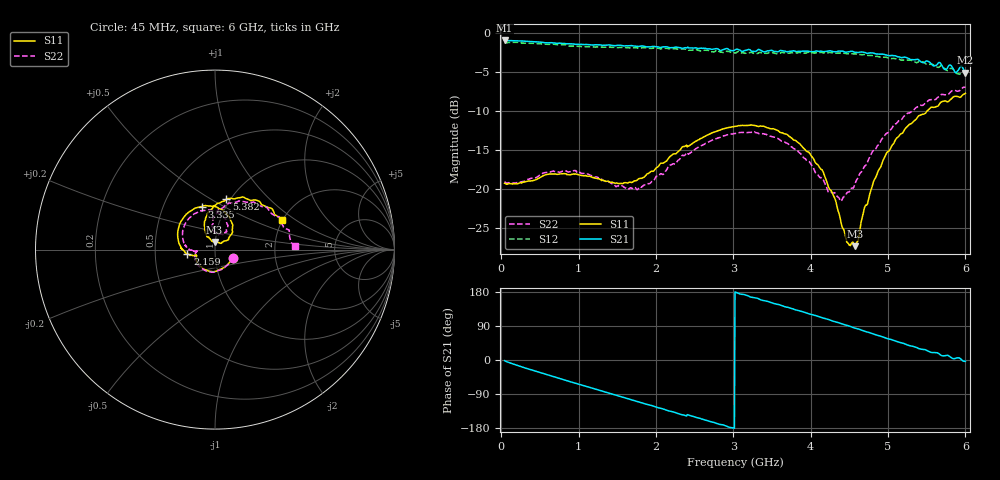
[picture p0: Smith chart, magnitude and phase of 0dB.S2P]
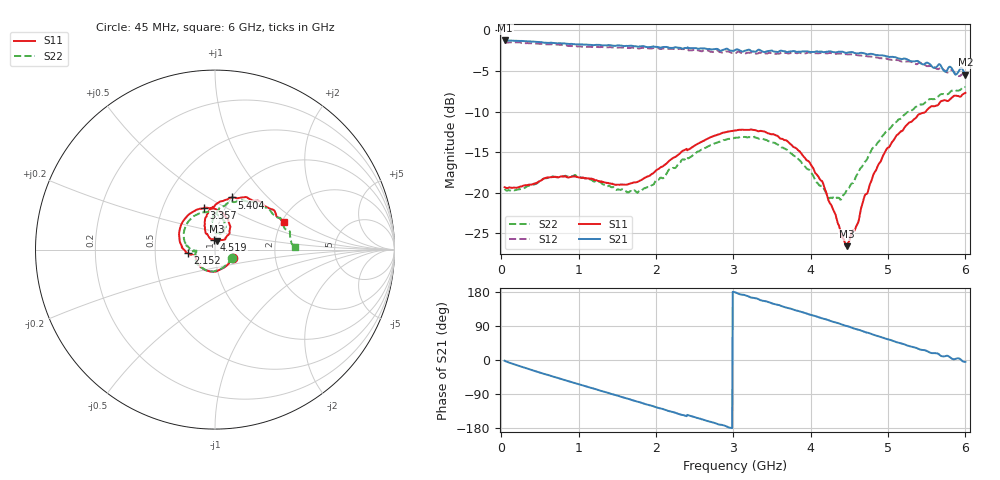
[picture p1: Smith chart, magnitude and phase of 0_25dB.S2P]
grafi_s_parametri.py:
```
# narise grafe na podlagi S parametrov iz datoteke .S2P HP - VNA utility
# pip install scikit-rf

from skrf import Network
import matplotlib.pyplot as plt
from matplotlib import style

files = [
    '0dB.S2P',
    '0_25dB.S2P',
    '0_5dB.S2P',
    '1dB.S2P',
    '2dB.S2P',
    '4dB.S2P',
    '8dB.S2P',
    '16dB.S2P',
    '30dB.S2P',
]
"""
files = [
    '0dB.S2P',
    '10dB.S2P',
    '20dB.S2P',
    '30dB.S2P'
]
"""
for file in files:
    ring_slot = Network(file)
    ring_slot.plot_s_db(m=1,n=0)

plt.title('PE43711B')
plt.legend(loc='lower right')
plt.grid(visible=True, axis='both', which='both')
plt.show()
```
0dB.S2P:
! C:\Users\Aljaz\OneDrive - Univerza v Ljubljani\DOKTORAT\NOVI SA\Slabilec PE43711B\meritve\prototip2\0dB.S2P
! Touchstone 1.1 file saved by VNA.EXE V1.65 (www.ke5fx.com/gpib/readme.htm)
! 18. 04. 2022 17:56:22
!  Source: HP8510C.07.14: Aug 26  1998
!  Min freq: 4.500000E+007 Hz
!  Max freq: 6.000000E+009 Hz
!  Points: 801
!  Params: S11 S21 S12 S22
# GHZ S DB R 50
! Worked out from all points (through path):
!   801 points, 45 MHz to 6 GHz, reference 50 ohm
!   highest |S21| = -1.00 dB at 45 MHz (marker M1); lowest = -5.1 dB at 6 GHz (marker M2)
!   group delay of S21, straight-line fit = 167 ps
!   lowest |S11| = -27.4 dB at 4.571 GHz (marker M3), VSWR 1.09, Z = 49.5 + j4.25 ohm
!   |S11| at or under -10 dB: start of sweep to 5.508 GHz
!   |S22| runs from -21.6 to -7.0 dB; largest |S21 - S12| = 0.062
!   S11 on the Smith chart (normalised r, x): 45 MHz: 1.21, -0.11; 2.159 GHz: 0.73, -0.03; 3.335 GHz: 0.77, +0.40; 5.382 GHz: 0.96, +0.59; 6 GHz: 2.00, +0.78
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0.045  -19.30 -24.7  -1.00 -1.8  -1.31 -2.0  -19.08 -25.1
1.1169  -18.40 -146.2  -1.53 -70.7  -1.80 -70.7  -18.12 -155.1
2.159025  -16.16 -171.4  -1.86 -133.9  -2.04 -133.1  -17.19 -178.7
3.0225  -12.01 132.5  -2.20 179.7  -2.60 179.1  -12.91 129.5
3.335138  -12.01 107.2  -2.16 160.4  -2.55 161.4  -12.95 104.8
3.997631  -15.62 53.2  -2.42 120.9  -2.55 121.1  -16.75 61.0
4.377262  -23.56 43.5  -2.35 97.2  -2.61 97.2  -21.44 76.8
4.5708  -27.36 93.6  -2.50 84.2  -2.74 84.5  -19.47 94.3
4.957875  -15.93 111.5  -2.81 58.8  -3.14 59.7  -13.16 85.5
5.382169  -10.83 77.4  -3.41 31.8  -3.80 34.2  -9.49 51.9
6  -7.77 23.5  -5.13 -3.4  -5.28 -1.8  -7.00 2.8
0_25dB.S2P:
! C:\Users\Aljaz\OneDrive - Univerza v Ljubljani\DOKTORAT\NOVI SA\Slabilec PE43711B\meritve\prototip2\0_25dB.S2P
! Touchstone 1.1 file saved by VNA.EXE V1.65 (www.ke5fx.com/gpib/readme.htm)
! 18. 04. 2022 17:57:46
!  Source: HP8510C.07.14: Aug 26  1998
!  Min freq: 4.500000E+007 Hz
!  Max freq: 6.000000E+009 Hz
!  Points: 801
!  Params: S11 S21 S12 S22
# GHZ S DB R 50
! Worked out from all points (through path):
!   801 points, 45 MHz to 6 GHz, reference 50 ohm
!   highest |S21| = -1.26 dB at 52.44 MHz (marker M1); lowest = -5.5 dB at 6 GHz (marker M2)
!   group delay of S21, straight-line fit = 167 ps
!   lowest |S11| = -26.6 dB at 4.467 GHz (marker M3), VSWR 1.10, Z = 51 + j4.63 ohm
!   |S11| at or under -10 dB: start of sweep to 5.488 GHz
!   |S22| runs from -20.9 to -7.0 dB; largest |S21 - S12| = 0.059
!   S11 on the Smith chart (normalised r, x): 45 MHz: 1.21, -0.11; 2.152 GHz: 0.73, -0.03; 3.357 GHz: 0.80, +0.39; 4.519 GHz: 0.99, +0.11; 5.404 GHz: 1.00, +0.64; 6 GHz: 2.06, +0.75
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0.045  -19.32 -24.2  -1.26 -1.8  -1.54 -2.0  -19.52 -25.6
0.05244375  -19.34 -23.4  -1.26 -2.6  -1.53 -2.9  -19.61 -24.8
1.1169  -18.23 -144.6  -1.78 -70.8  -2.03 -70.8  -18.24 -154.9
2.151581  -16.25 -173.1  -2.08 -133.9  -2.26 -133.1  -17.42 179.4
3.0225  -12.34 131.4  -2.44 178.8  -2.80 178.3  -13.23 128.8
3.357469  -12.38 104.8  -2.52 157.5  -2.77 158.2  -13.37 103.0
3.997631  -16.44 55.5  -2.67 119.5  -2.78 119.7  -17.38 64.9
4.466588  -26.57 74.7  -2.78 89.9  -2.95 89.4  -19.65 91.2
4.518694  -25.27 94.6  -2.68 86.4  -2.96 86.2  -18.99 97.4
5.4045  -10.31 72.3  -3.92 28.2  -3.98 30.8  -9.18 49.5
6  -7.70 21.7  -5.47 -4.8  -5.61 -3.2  -6.99 1.6
